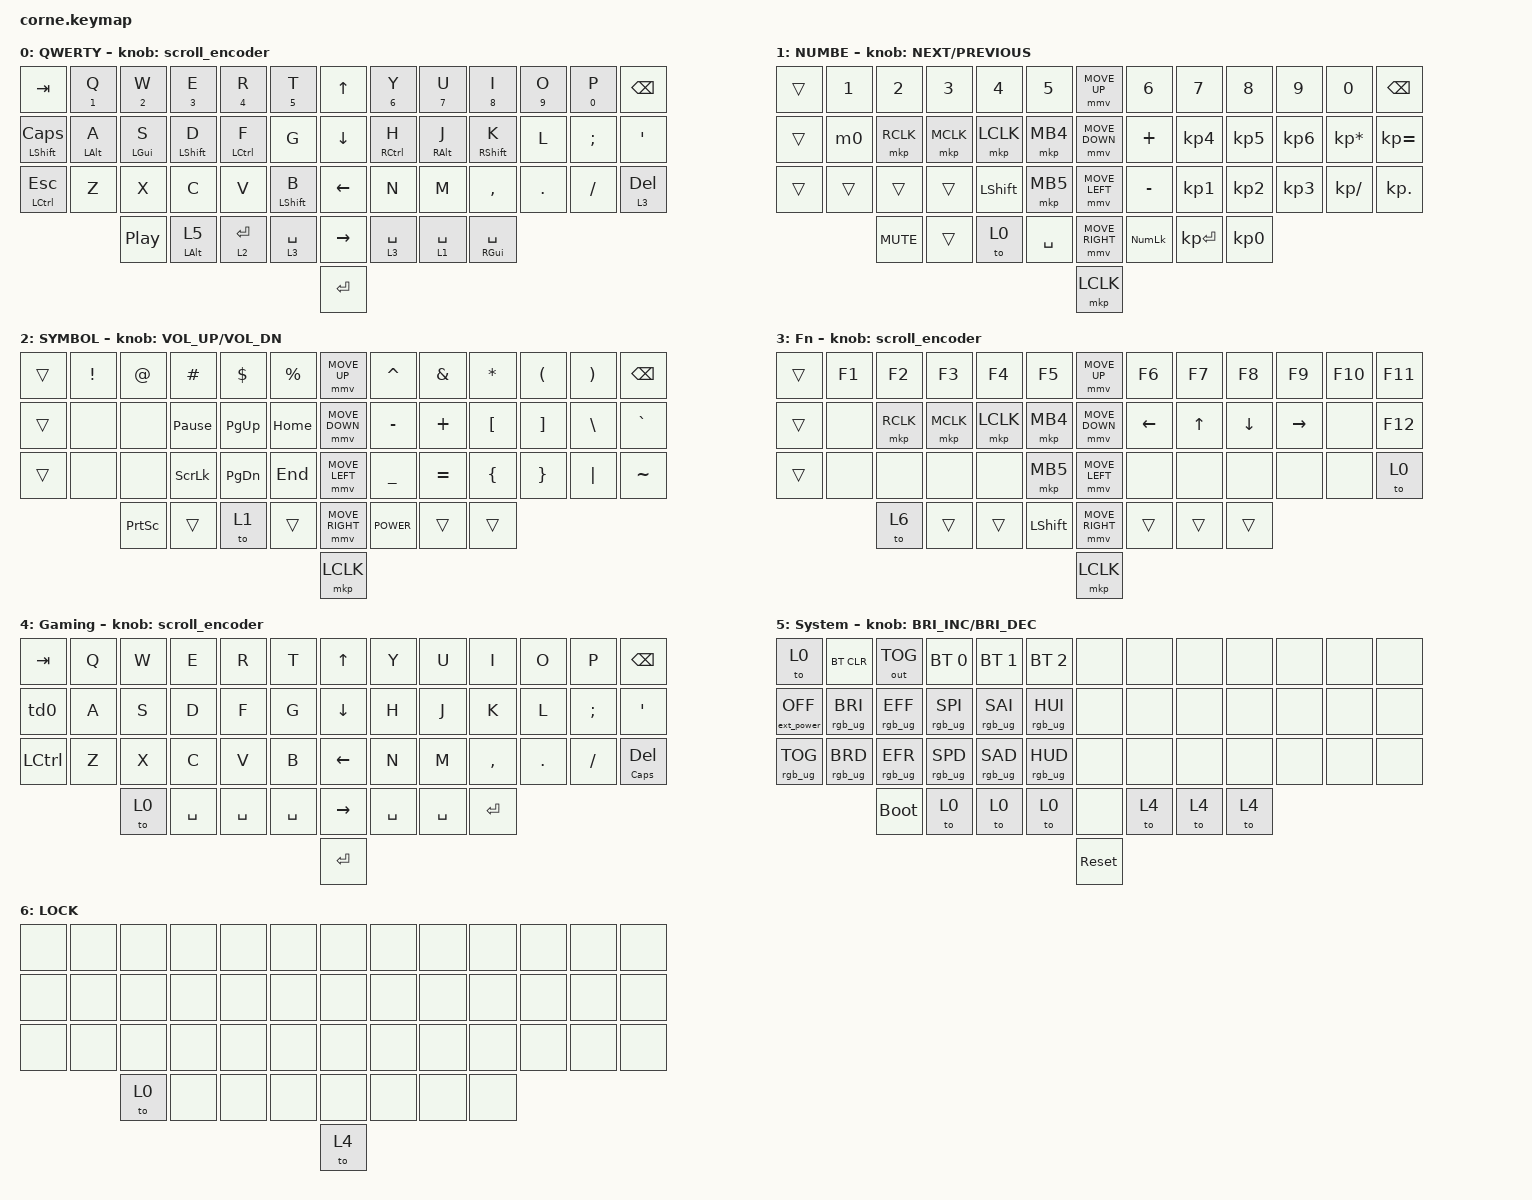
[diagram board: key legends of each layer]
#include <behaviors/mouse_keys.dtsi>
#include <behaviors.dtsi>
#include <dt-bindings/zmk/bt.h>
#include <dt-bindings/zmk/ext_power.h>
#include <dt-bindings/zmk/keys.h>
#include <dt-bindings/zmk/mouse.h>
#include <dt-bindings/zmk/outputs.h>
#include <dt-bindings/zmk/rgb.h>

#define ZMK_MOUSE_DEFAULT_MOVE_VAL 1200  // 600
#define ZMK_MOUSE_DEFAULT_SCRL_VAL 20    // 10
#define U_MS_U &mmv MOVE_UP
#define U_MS_D &mmv MOVE_DOWN
#define U_MS_L &mmv MOVE_LEFT
#define U_MS_R &mmv MOVE_RIGHT

&mt {
    flavor = "tap-preferred";
    tapping-term-ms = <210>;
};

/ {
    behaviors {
        td0: td0 {
            compatible = "zmk,behavior-tap-dance";
            label = "TD0";
            #binding-cells = <0>;
            bindings = <&kp LEFT_SHIFT>, <&kp CAPS>;
        };

        ht_long: ht_long {
            compatible = "zmk,behavior-hold-tap";
            label = "HT_LONG";
            bindings = <&kp>, <&kp>;

            #binding-cells = <2>;
            tapping-term-ms = <180>;
            hold-trigger-key-positions = <40 46 26 0 1 2 4 5 7 8 10 11 12 13 14 15 16 17 18 19 20 21 22 23 24 25 26 27 28 29 30 31 32 33 34 35 36 37 38 39 40 41 42 43 44 45 46 47 3 6 9>;
            flavor = "balanced";
        };

        ht_layer: ht_layer {
            compatible = "zmk,behavior-hold-tap";
            label = "HT_LAYER";
            bindings = <&kp>, <&to>;

            #binding-cells = <2>;
            tapping-term-ms = <120>;
            hold-trigger-key-positions = <40 46 26 0 1 2 3 4 5 7 8 9 10 11 12 13 14 15 16 17 18 19 20 21 22 23 24 25 26 27 28 29 30 31 32 33 34 35 36 37 38 39 40 41 42 43 44 45 46 47 6>;
            flavor = "balanced";
        };

        ht_number: ht_number {
            compatible = "zmk,behavior-hold-tap";
            label = "HT_NUMBER";
            bindings = <&kp>, <&kp>;

            #binding-cells = <2>;
            tapping-term-ms = <160>;
            hold-trigger-key-positions = <0 1 2 3 4 5 7 8 9 10 11 12 13 14 15 16 17 18 19 20 21 22 23 24 25 26 27 28 29 30 31 32 33 34 35 36 37 38 39 40 41 42 43 44 45 46 47 6>;
            flavor = "tap-preferred";
        };

        layer: layer {
            compatible = "zmk,behavior-hold-tap";
            label = "LAYER";
            #binding-cells = <2>;
            tapping-term-ms = <120>;
            hold-trigger-key-positions = <40 46 26 0 1 2 3 4 5 7 8 9 10 11 12 13 14 15 16 17 18 19 20 21 22 23 24 25 26 27 28 29 30 31 32 33 34 35 36 37 38 39 40 41 42 43 44 45 46 47 6>;
            flavor = "balanced";
            bindings = <&to>, <&kp>;
        };

        mmv {
            acceleration-exponent = <1>;      // 1
            time-to-max-speed-ms = <900>;    // 40
            delay-ms = <0>;                   // 0
        };

        msc {
            acceleration-exponent = <1>;      // 0
            time-to-max-speed-ms = <400>;      // 500
            delay-ms = <0>;                   // 10
        };
    };

    rgb_encoder: rgb_encoder {
        compatible = "zmk,behavior-sensor-rotate";
        label = "RGB_ENCODER";
        #sensor-binding-cells = <0>;
        bindings = <&rgb_ug RGB_BRI>, <&rgb_ug RGB_BRD>;
    };

    scroll_encoder: scroll_encoder {
        compatible = "zmk,behavior-sensor-rotate";
        #sensor-binding-cells = <0>;
        bindings = <&msc SCRL_DOWN>, <&msc SCRL_UP>;

        tap-ms = <50>;
    };

    media_encoder: media_encoder {
        compatible = "zmk,behavior-sensor-rotate-var";
        label = "MEDIA_ENCODER";
        #sensor-binding-cells = <2>;
        bindings = <&kp>, <&kp>;
    };

    vol_encoder: vol_encoder {
        compatible = "zmk,behavior-sensor-rotate-var";
        label = "VOL_ENCODER";
        #sensor-binding-cells = <2>;
        bindings = <&kp>, <&kp>;
    };

    combos {
        compatible = "zmk,combos";

        Enter {
            bindings = <&kp ENTER>;
            key-positions = <11 12>;
            layers = <0 2 3 4 1>;
        };
    };

    macros {
        m0: m0 {
            compatible = "zmk,behavior-macro";
            #binding-cells = <0>;
            bindings = <&kp Y &kp A &kp M &kp I &kp K &kp O &kp W &kp U &kp N9 &kp N4 &kp N0 &kp N1 &kp N0 &kp N2>;
            label = "M0";
        };
    };

    keymap {
        compatible = "zmk,keymap";

        default_layer {
            display-name = "QWERTY";

            // --------------------------------------------------------------------------------
            // |  TAB |  Q  |  W  |  E  |  R  |  T  |                ↑    |  Y  |  U   |  I  |  O  |  P  | BKSP |      &kp UP_ARROW 
            // | SHIFT |  A  |  S  |  D  |  F  |  G  |               ↓    |  H  |  J   |  K  |  L  |  ;  |  '   | 
            // | CTRL |  Z  |  X  |  C  |  V  |  B  |                ←    |  N  |  M   |  ,  |  .  |  /  | ESC  |
            //                    | GUI | LWR | SPC |                →    | ENT | RSE  | ALT |
            //                                                      enter

            bindings = <
&kp TAB                       &ht_number N1 Q  &ht_number N2 W   &ht_number N3 E       &ht_number N4 R     &ht_number N5 T     &kp UP_ARROW     &ht_number N6 Y      &ht_number N7 U  &ht_number N8 I           &ht_number N9 O  &ht_number N0 P  &kp BSPC
&ht_long LEFT_SHIFT CAPSLOCK  &mt LEFT_ALT A   &mt LEFT_GUI S    &mt LEFT_SHIFT D      &mt LEFT_CONTROL F  &kp G               &kp DOWN_ARROW   &mt RIGHT_CONTROL H  &mt RIGHT_ALT J  &mt RIGHT_SHIFT K         &kp L            &kp SEMI         &kp SQT
&ht_long LCTRL ESC            &kp Z            &kp X             &kp C                 &kp V               &mt LEFT_SHIFT B    &kp LEFT_ARROW   &kp N                &kp M            &kp COMMA                 &kp DOT          &kp FSLH         &layer 3 DELETE
                                               &kp C_PLAY_PAUSE  &ht_layer LEFT_ALT 5  &lt 2 ENTER         &lt 3 SPACE         &kp RIGHT_ARROW  &lt 3 SPACE          &lt 1 SPACE      &ht_long RIGHT_GUI SPACE
                                                                                                                               &kp ENTER
            >;

            label = "QWERTY";
            sensor-bindings = <&scroll_encoder>;
        };

        lower_layer {
            display-name = "NUMBE";

            // -----------------------------------------------------------------------------------------
            // |  TAB |  1  |  2  |  3  |  4  |  5  |   |  6  |  7  |  8  |  9  |  0  | BKSP |
            // | BTCLR| BT1 | BT2 | BT3 | BT4 | BT5 |   | LFT | DWN |  UP | RGT |     |      |
            // | SHFT |     |     |     |     |     |   |     |     |     |     |     |      |
            //                    | GUI |     | SPC |   | ENT |     | ALT |

            bindings = <
&trans  &kp N1  &kp N2      &kp N3     &kp N4          &kp N5       &mmv MOVE_UP     &kp N6          &kp N7           &kp N8           &kp N9           &kp N0           &kp BACKSPACE
&trans  &m0     &mkp RCLK   &mkp MCLK  &mkp LCLK       &mkp MB4     &mmv MOVE_DOWN   &kp PLUS        &kp KP_NUMBER_4  &kp KP_NUMBER_5  &kp KP_NUMBER_6  &kp KP_MULTIPLY  &kp KP_EQUAL
&trans  &trans  &trans      &trans     &kp LEFT_SHIFT  &mkp MB5     &mmv MOVE_LEFT   &kp MINUS       &kp KP_NUMBER_1  &kp KP_NUMBER_2  &kp KP_NUMBER_3  &kp KP_DIVIDE    &kp KP_DOT
                &kp C_MUTE  &trans     &to 0           &kp SPACE    &mmv MOVE_RIGHT  &kp KP_NUMLOCK  &kp KP_ENTER     &kp KP_NUMBER_0
                                                                    &mkp LCLK
            >;

            label = "NUMBER";
            sensor-bindings = <&media_encoder C_NEXT C_PREVIOUS>;
        };

        raise_layer {
            display-name = "SYMBOL";

            // -----------------------------------------------------------------------------------------
            // |  TAB |  !  |  @  |  #  |  $  |  %  |   |  ^  |  &  |  *  |  (  |  )  | BKSP |
            // | CTRL |     |     |     |     |     |   |  -  |  =  |  [  |  ]  |  \  |  `   |
            // | SHFT |     |     |     |     |     |   |  _  |  +  |  {  |  }  | "|" |  ~   |
            //                    | GUI |     | SPC |   | ENT |     | ALT |

            bindings = <
&trans  &kp EXCL  &kp AT           &kp HASH         &kp DLLR       &kp PRCNT    &mmv MOVE_UP     &kp CARET    &kp AMPS   &kp ASTRK  &kp LPAR  &kp RPAR  &kp BSPC
&trans  &none     &none            &kp PAUSE_BREAK  &kp PAGE_UP    &kp HOME     &mmv MOVE_DOWN   &kp MINUS    &kp PLUS   &kp LBKT   &kp RBKT  &kp BSLH  &kp GRAVE
&trans  &none     &none            &kp SCROLLLOCK   &kp PAGE_DOWN  &kp END      &mmv MOVE_LEFT   &kp UNDER    &kp EQUAL  &kp LBRC   &kp RBRC  &kp PIPE  &kp TILDE
                  &kp PRINTSCREEN  &trans           &to 1          &trans       &mmv MOVE_RIGHT  &kp C_POWER  &trans     &trans
                                                                                &mkp LCLK
            >;

            label = "SYMBOL";
            sensor-bindings = <&vol_encoder C_VOLUME_UP C_VOL_DN>;
        };

        FN_layer {
            display-name = "Fn";
            bindings = <
&trans  &kp F1  &kp F2     &kp F3     &kp F4     &kp F5            &mmv MOVE_UP     &kp F6          &kp F7        &kp F8          &kp F9           &kp F10  &kp F11
&trans  &none   &mkp RCLK  &mkp MCLK  &mkp LCLK  &mkp MB4          &mmv MOVE_DOWN   &kp LEFT_ARROW  &kp UP_ARROW  &kp DOWN_ARROW  &kp RIGHT_ARROW  &none    &kp F12
&trans  &none   &none      &none      &none      &mkp MB5          &mmv MOVE_LEFT   &none           &none         &none           &none            &none    &to 0
                &to 6      &trans     &trans     &kp LEFT_SHIFT    &mmv MOVE_RIGHT  &trans          &trans        &trans
                                                                   &mkp LCLK
            >;

            label = "FN";
            sensor-bindings = <&scroll_encoder>;
        };

        Gaming_layer {
            display-name = "Gaming";
            bindings = <
&kp TAB    &kp Q  &kp W  &kp E      &kp R      &kp T        &kp UP_ARROW     &kp Y      &kp U      &kp I      &kp O    &kp P     &kp BSPC
&td0       &kp A  &kp S  &kp D      &kp F      &kp G        &kp DOWN_ARROW   &kp H      &kp J      &kp K      &kp L    &kp SEMI  &kp SQT
&kp LCTRL  &kp Z  &kp X  &kp C      &kp V      &kp B        &kp LEFT_ARROW   &kp N      &kp M      &kp COMMA  &kp DOT  &kp FSLH  &ht_long CAPSLOCK DELETE
                  &to 0  &kp SPACE  &kp SPACE  &kp SPACE    &kp RIGHT_ARROW  &kp SPACE  &kp SPACE  &kp ENTER
                                                            &kp ENTER
            >;

            label = "Gaming";
            sensor-bindings = <&scroll_encoder>;
        };

        System_layer {
            bindings = <
&to 0              &bt BT_CLR       &out OUT_TOG     &bt BT_SEL 0     &bt BT_SEL 1     &bt BT_SEL 2       &none       &none  &none  &none  &none  &none  &none
&ext_power EP_OFF  &rgb_ug RGB_BRI  &rgb_ug RGB_EFF  &rgb_ug RGB_SPI  &rgb_ug RGB_SAI  &rgb_ug RGB_HUI    &none       &none  &none  &none  &none  &none  &none
&rgb_ug RGB_TOG    &rgb_ug RGB_BRD  &rgb_ug RGB_EFR  &rgb_ug RGB_SPD  &rgb_ug RGB_SAD  &rgb_ug RGB_HUD    &none       &none  &none  &none  &none  &none  &none
                                    &bootloader      &to 0            &to 0            &to 0              &none       &to 4  &to 4  &to 4
                                                                                                          &sys_reset
            >;

            label = "System";
            sensor-bindings = <&inc_dec_kp C_BRIGHTNESS_INC C_BRIGHTNESS_DEC>;
        };

        Lock_layer {
            bindings = <
&none  &none  &none  &none  &none  &none    &none  &none  &none  &none  &none  &none  &none
&none  &none  &none  &none  &none  &none    &none  &none  &none  &none  &none  &none  &none
&none  &none  &none  &none  &none  &none    &none  &none  &none  &none  &none  &none  &none
              &to 0  &none  &none  &none    &none  &none  &none  &none
                                            &to 4
            >;

            label = "LOCK";
        };
    };
};
